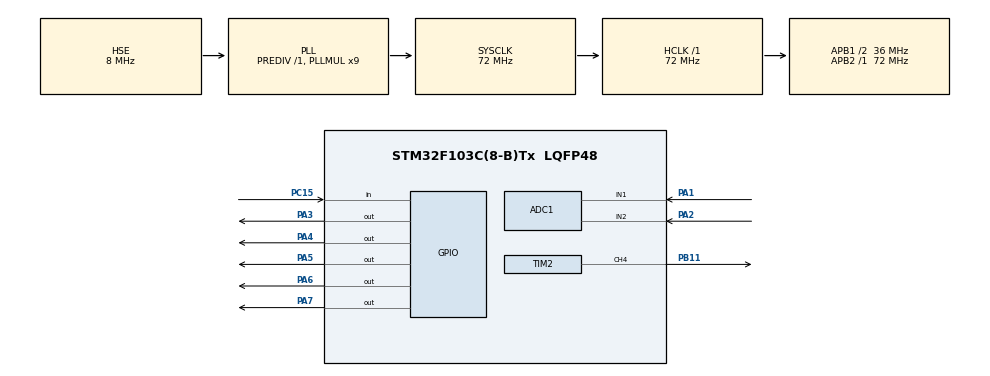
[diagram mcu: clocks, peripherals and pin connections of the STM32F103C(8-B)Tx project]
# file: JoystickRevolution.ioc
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ADC1.Channel-0\#ChannelRegularConversion=ADC_CHANNEL_1
ADC1.Channel-1\#ChannelRegularConversion=ADC_CHANNEL_2
ADC1.ContinuousConvMode=ENABLE
ADC1.NbrOfConversion=2
ADC1.NbrOfConversionFlag=1
ADC1.Rank-0\#ChannelRegularConversion=1
ADC1.Rank-1\#ChannelRegularConversion=2
ADC1.SamplingTime-0\#ChannelRegularConversion=ADC_SAMPLETIME_239CYCLES_5
ADC1.SamplingTime-1\#ChannelRegularConversion=ADC_SAMPLETIME_239CYCLES_5
ADC1.master=1
Dma.ADC1.0.Direction=DMA_PERIPH_TO_MEMORY
Dma.ADC1.0.Instance=DMA1_Channel1
Dma.ADC1.0.MemDataAlignment=DMA_MDATAALIGN_HALFWORD
Dma.ADC1.0.MemInc=DMA_MINC_ENABLE
Dma.ADC1.0.Mode=DMA_CIRCULAR
Dma.ADC1.0.PeriphDataAlignment=DMA_PDATAALIGN_HALFWORD
Dma.ADC1.0.PeriphInc=DMA_PINC_DISABLE
Dma.ADC1.0.Priority=DMA_PRIORITY_LOW
Dma.Request0=ADC1
FREERTOS.Tasks01=defaultTask,0,128,StartDefaultTask,Default,NULL
FREERTOS.configMAX_TASK_NAME_LEN=30
Mcu.Family=STM32F1
Mcu.Name=STM32F103C(8-B)Tx
Mcu.Package=LQFP48
NVIC.ADC1_2_IRQn=true\:5\:0\:false\:false\:true\:true\:true\:true
NVIC.DMA1_Channel1_IRQn=true\:5\:0\:false\:false\:true\:true\:false\:true
NVIC.PriorityGroup=NVIC_PRIORITYGROUP_4
NVIC.TIM4_IRQn=true\:0\:0\:false\:false\:true\:false\:false\:true
NVIC.TimeBase=TIM4_IRQn
NVIC.TimeBaseIP=TIM4
PA1.Signal=ADCx_IN1
PA13.Mode=Serial_Wire
PA13.Signal=SYS_JTMS-SWDIO
PA14.Mode=Serial_Wire
PA14.Signal=SYS_JTCK-SWCLK
PA2.Signal=ADCx_IN2
PA3.Signal=GPIO_Output
PA4.Signal=GPIO_Output
PA5.Signal=GPIO_Output
PA6.Signal=GPIO_Output
PA7.Signal=GPIO_Output
PB11.Signal=S_TIM2_CH4
PC15-OSC32_OUT.GPIO_PuPd=GPIO_PULLUP
PC15-OSC32_OUT.Signal=GPIO_Input
PD0-OSC_IN.Mode=HSE-External-Oscillator
PD0-OSC_IN.Signal=RCC_OSC_IN
PD1-OSC_OUT.Mode=HSE-External-Oscillator
PD1-OSC_OUT.Signal=RCC_OSC_OUT
ProjectManager.HeapSize=0x200
ProjectManager.StackSize=0x400
ProjectManager.TargetToolchain=TrueSTUDIO
RCC.ADCPresc=RCC_ADCPCLK2_DIV6
RCC.AHBFreq_Value=72000000
RCC.APB1CLKDivider=RCC_HCLK_DIV2
RCC.APB1Freq_Value=36000000
RCC.APB1TimFreq_Value=72000000
RCC.APB2Freq_Value=72000000
RCC.APB2TimFreq_Value=72000000
RCC.HCLKFreq_Value=72000000
RCC.PLLMUL=RCC_PLL_MUL9
RCC.PLLSourceVirtual=RCC_PLLSOURCE_HSE
RCC.SYSCLKFreq_VALUE=72000000
RCC.SYSCLKSource=RCC_SYSCLKSOURCE_PLLCLK
RCC.USBFreq_Value=72000000
SH.ADCx_IN1.0=ADC1_IN1,IN1
SH.ADCx_IN2.0=ADC1_IN2,IN2
SH.S_TIM2_CH4.0=TIM2_CH4,PWM Generation4 CH4
TIM2.AutoReloadPreload=TIM_AUTORELOAD_PRELOAD_ENABLE
TIM2.Channel-PWM\ Generation4\ CH4=TIM_CHANNEL_4
TIM2.Period=2000-1
TIM2.Prescaler=1080-1
TIM2.Pulse-PWM\ Generation4\ CH4=0
VP_FREERTOS_VS_CMSIS_V1.Mode=CMSIS_V1
VP_SYS_VS_tim4.Mode=TIM4
VP_TIM2_VS_ClockSourceINT.Mode=Internal
board=custom

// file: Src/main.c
/* USER CODE BEGIN Header */
/**
 ******************************************************************************
 * @file           : main.c
 * @brief          : Main program body
 ******************************************************************************
 * @attention
 *
 * <h2><center>&copy; Copyright (c) 2019 STMicroelectronics.
 * All rights reserved.</center></h2>
 *
 * This software component is licensed by ST under Ultimate Liberty license
 * SLA0044, the "License"; You may not use this file except in compliance with
 * the License. You may obtain a copy of the License at:
 *                             www.st.com/SLA0044
 *
 ******************************************************************************
 */
/* USER CODE END Header */

#include "main.h"
#include "cmsis_os.h"

/* USER CODE BEGIN Includes */
#include "NOKIA5110_fb.h"
#include "GameControl.h"
#include "Joystick.h"
//#include "sound.h"
/* USER CODE END Includes */

ADC_HandleTypeDef hadc1;
DMA_HandleTypeDef hdma_adc1;

TIM_HandleTypeDef htim2;

osThreadId defaultTaskHandle;

//SoundCfg_t scfg;
/* USER CODE BEGIN PV */
static uint16_t ADC_buffer[2];
static uint32_t valor_ADC[2];
/* USER CODE END PV */

void SystemClock_Config(void);
static void MX_GPIO_Init(void);
static void MX_DMA_Init(void);
static void MX_ADC1_Init(void);
static void MX_TIM2_Init(void);
void StartDefaultTask(void const * argument);

/* USER CODE BEGIN 0 */
void HAL_ADC_ConvCpltCallback(ADC_HandleTypeDef *hadc) {
	if (hadc->Instance == ADC1) {
		valor_ADC[0] = ADC_buffer[0];
		valor_ADC[1] = ADC_buffer[1];
	}
}
/* USER CODE END 0 */

int main(void)
{

  /* MCU Configuration--------------------------------------------------------*/

  /* Reset of all peripherals, Initializes the Flash interface and the Systick. */
  HAL_Init();

  /* Configure the system clock */
  SystemClock_Config();

  /* Initialize all configured peripherals */
  MX_GPIO_Init();
  MX_DMA_Init();
  MX_ADC1_Init();
  MX_TIM2_Init();
  /* USER CODE BEGIN 2 */

	HAL_ADC_Start_DMA(&hadc1, (uint32_t*) ADC_buffer, 2);
	HAL_ADC_Start_IT(&hadc1);

	inic_LCD();
	limpa_LCD();

	JoystickInit((unsigned*) &(valor_ADC[0]), (unsigned*) &(valor_ADC[1]));

	//scfg.channel = TIM_CHANNEL_4;
	//scfg.htimx = &htim2;
  /* USER CODE END 2 */

  /* USER CODE BEGIN RTOS_QUEUES */
	//scfg.note_t_queue = xQueueCreate(5, sizeof(note_t));
  /* USER CODE END RTOS_QUEUES */

  /* Create the thread(s) */
  /* definition and creation of defaultTask */
  osThreadDef(defaultTask, StartDefaultTask, osPriorityNormal, 0, 128);
  defaultTaskHandle = osThreadCreate(osThread(defaultTask), NULL);

  /* USER CODE BEGIN RTOS_THREADS */
	xTaskCreate(JoystickTask, "Joystick", 100, NULL, 1, NULL);
	xTaskCreate(GameControlTask, "Game control", 100, NULL, 1, NULL);
	//xTaskCreate(SoundTask, "Sound", 100, (void*)&scfg, 1, NULL);
  /* USER CODE END RTOS_THREADS */

  /* Start scheduler */
  osKernelStart();

  /* We should never get here as control is now taken by the scheduler */

  /* Infinite loop */
	while (1) {

	}
}

void SystemClock_Config(void)
{
  RCC_OscInitTypeDef RCC_OscInitStruct = {0};
  RCC_ClkInitTypeDef RCC_ClkInitStruct = {0};
  RCC_PeriphCLKInitTypeDef PeriphClkInit = {0};

  /** Initializes the CPU, AHB and APB busses clocks
  */
  RCC_OscInitStruct.OscillatorType = RCC_OSCILLATORTYPE_HSE;
  RCC_OscInitStruct.HSEState = RCC_HSE_ON;
  RCC_OscInitStruct.HSEPredivValue = RCC_HSE_PREDIV_DIV1;
  RCC_OscInitStruct.HSIState = RCC_HSI_ON;
  RCC_OscInitStruct.PLL.PLLState = RCC_PLL_ON;
  RCC_OscInitStruct.PLL.PLLSource = RCC_PLLSOURCE_HSE;
  RCC_OscInitStruct.PLL.PLLMUL = RCC_PLL_MUL9;
  if (HAL_RCC_OscConfig(&RCC_OscInitStruct) != HAL_OK)
  {
    Error_Handler();
  }
  /** Initializes the CPU, AHB and APB busses clocks
  */
  RCC_ClkInitStruct.ClockType = RCC_CLOCKTYPE_HCLK|RCC_CLOCKTYPE_SYSCLK
                              |RCC_CLOCKTYPE_PCLK1|RCC_CLOCKTYPE_PCLK2;
  RCC_ClkInitStruct.SYSCLKSource = RCC_SYSCLKSOURCE_PLLCLK;
  RCC_ClkInitStruct.AHBCLKDivider = RCC_SYSCLK_DIV1;
  RCC_ClkInitStruct.APB1CLKDivider = RCC_HCLK_DIV2;
  RCC_ClkInitStruct.APB2CLKDivider = RCC_HCLK_DIV1;

  if (HAL_RCC_ClockConfig(&RCC_ClkInitStruct, FLASH_LATENCY_2) != HAL_OK)
  {
    Error_Handler();
  }
  PeriphClkInit.PeriphClockSelection = RCC_PERIPHCLK_ADC;
  PeriphClkInit.AdcClockSelection = RCC_ADCPCLK2_DIV6;
  if (HAL_RCCEx_PeriphCLKConfig(&PeriphClkInit) != HAL_OK)
  {
    Error_Handler();
  }
}

static void MX_ADC1_Init(void)
{

  ADC_ChannelConfTypeDef sConfig = {0};

  /** Common config
  */
  hadc1.Instance = ADC1;
  hadc1.Init.ScanConvMode = ADC_SCAN_ENABLE;
  hadc1.Init.ContinuousConvMode = ENABLE;
  hadc1.Init.DiscontinuousConvMode = DISABLE;
  hadc1.Init.ExternalTrigConv = ADC_SOFTWARE_START;
  hadc1.Init.DataAlign = ADC_DATAALIGN_RIGHT;
  hadc1.Init.NbrOfConversion = 2;
  if (HAL_ADC_Init(&hadc1) != HAL_OK)
  {
    Error_Handler();
  }
  /** Configure Regular Channel
  */
  sConfig.Channel = ADC_CHANNEL_1;
  sConfig.Rank = ADC_REGULAR_RANK_1;
  sConfig.SamplingTime = ADC_SAMPLETIME_239CYCLES_5;
  if (HAL_ADC_ConfigChannel(&hadc1, &sConfig) != HAL_OK)
  {
    Error_Handler();
  }
  /** Configure Regular Channel
  */
  sConfig.Channel = ADC_CHANNEL_2;
  sConfig.Rank = ADC_REGULAR_RANK_2;
  if (HAL_ADC_ConfigChannel(&hadc1, &sConfig) != HAL_OK)
  {
    Error_Handler();
  }

}

static void MX_TIM2_Init(void)
{

  TIM_ClockConfigTypeDef sClockSourceConfig = {0};
  TIM_MasterConfigTypeDef sMasterConfig = {0};
  TIM_OC_InitTypeDef sConfigOC = {0};

  htim2.Instance = TIM2;
  htim2.Init.Prescaler = 1080-1;
  htim2.Init.CounterMode = TIM_COUNTERMODE_UP;
  htim2.Init.Period = 2000-1;
  htim2.Init.ClockDivision = TIM_CLOCKDIVISION_DIV1;
  htim2.Init.AutoReloadPreload = TIM_AUTORELOAD_PRELOAD_ENABLE;
  if (HAL_TIM_Base_Init(&htim2) != HAL_OK)
  {
    Error_Handler();
  }
  sClockSourceConfig.ClockSource = TIM_CLOCKSOURCE_INTERNAL;
  if (HAL_TIM_ConfigClockSource(&htim2, &sClockSourceConfig) != HAL_OK)
  {
    Error_Handler();
  }
  if (HAL_TIM_PWM_Init(&htim2) != HAL_OK)
  {
    Error_Handler();
  }
  sMasterConfig.MasterOutputTrigger = TIM_TRGO_RESET;
  sMasterConfig.MasterSlaveMode = TIM_MASTERSLAVEMODE_DISABLE;
  if (HAL_TIMEx_MasterConfigSynchronization(&htim2, &sMasterConfig) != HAL_OK)
  {
    Error_Handler();
  }
  sConfigOC.OCMode = TIM_OCMODE_PWM1;
  sConfigOC.Pulse = 0;
  sConfigOC.OCPolarity = TIM_OCPOLARITY_HIGH;
  sConfigOC.OCFastMode = TIM_OCFAST_DISABLE;
  if (HAL_TIM_PWM_ConfigChannel(&htim2, &sConfigOC, TIM_CHANNEL_4) != HAL_OK)
  {
    Error_Handler();
  }
  HAL_TIM_MspPostInit(&htim2);

}

static void MX_DMA_Init(void)
{
  /* DMA controller clock enable */
  __HAL_RCC_DMA1_CLK_ENABLE();

  /* DMA interrupt init */
  /* DMA1_Channel1_IRQn interrupt configuration */
  HAL_NVIC_SetPriority(DMA1_Channel1_IRQn, 5, 0);
  HAL_NVIC_EnableIRQ(DMA1_Channel1_IRQn);

}

static void MX_GPIO_Init(void)
{
  GPIO_InitTypeDef GPIO_InitStruct = {0};

  /* GPIO Ports Clock Enable */
  __HAL_RCC_GPIOC_CLK_ENABLE();
  __HAL_RCC_GPIOD_CLK_ENABLE();
  __HAL_RCC_GPIOA_CLK_ENABLE();
  __HAL_RCC_GPIOB_CLK_ENABLE();

  /*Configure GPIO pin Output Level */
  HAL_GPIO_WritePin(GPIOA, GPIO_PIN_3|GPIO_PIN_4|GPIO_PIN_5|GPIO_PIN_6
                          |GPIO_PIN_7, GPIO_PIN_RESET);

  /*Configure GPIO pin : PC15 */
  GPIO_InitStruct.Pin = GPIO_PIN_15;
  GPIO_InitStruct.Mode = GPIO_MODE_INPUT;
  GPIO_InitStruct.Pull = GPIO_PULLUP;
  HAL_GPIO_Init(GPIOC, &GPIO_InitStruct);

  /*Configure GPIO pins : PA3 PA4 PA5 PA6
                           PA7 */
  GPIO_InitStruct.Pin = GPIO_PIN_3|GPIO_PIN_4|GPIO_PIN_5|GPIO_PIN_6
                          |GPIO_PIN_7;
  GPIO_InitStruct.Mode = GPIO_MODE_OUTPUT_PP;
  GPIO_InitStruct.Pull = GPIO_NOPULL;
  GPIO_InitStruct.Speed = GPIO_SPEED_FREQ_LOW;
  HAL_GPIO_Init(GPIOA, &GPIO_InitStruct);

}

void StartDefaultTask(void const * argument)
{

	for (;;) {
		osDelay(1);
	}
}

void HAL_TIM_PeriodElapsedCallback(TIM_HandleTypeDef *htim)
{
  if (htim->Instance == TIM4) {
    HAL_IncTick();
  }
}

void Error_Handler(void)
{
}

/************************ (C) COPYRIGHT STMicroelectronics *****END OF FILE****/
